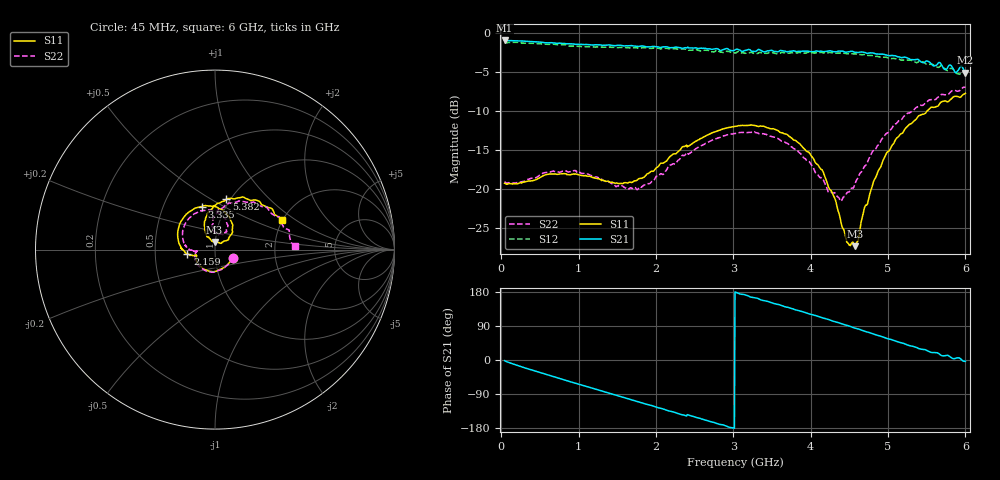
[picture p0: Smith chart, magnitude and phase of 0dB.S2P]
! C:\Users\Aljaz\OneDrive - Univerza v Ljubljani\DOKTORAT\NOVI SA\Slabilec PE43711B\meritve\prototip2\0dB.S2P
! Touchstone 1.1 file saved by VNA.EXE V1.65 (www.ke5fx.com/gpib/readme.htm)
! 18. 04. 2022 17:56:22
!  Source: HP8510C.07.14: Aug 26  1998
!  Min freq: 4.500000E+007 Hz
!  Max freq: 6.000000E+009 Hz
!  Points: 801
!  Params: S11 S21 S12 S22
# GHZ S DB R 50
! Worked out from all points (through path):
!   801 points, 45 MHz to 6 GHz, reference 50 ohm
!   highest |S21| = -1.00 dB at 45 MHz (marker M1); lowest = -5.1 dB at 6 GHz (marker M2)
!   group delay of S21, straight-line fit = 167 ps
!   lowest |S11| = -27.4 dB at 4.571 GHz (marker M3), VSWR 1.09, Z = 49.5 + j4.25 ohm
!   |S11| at or under -10 dB: start of sweep to 5.508 GHz
!   |S22| runs from -21.6 to -7.0 dB; largest |S21 - S12| = 0.062
!   S11 on the Smith chart (normalised r, x): 45 MHz: 1.21, -0.11; 2.159 GHz: 0.73, -0.03; 3.335 GHz: 0.77, +0.40; 5.382 GHz: 0.96, +0.59; 6 GHz: 2.00, +0.78
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0.045  -19.30 -24.7  -1.00 -1.8  -1.31 -2.0  -19.08 -25.1
0.22365  -19.31 -43.2  -1.06 -15.1  -1.24 -15.0  -19.16 -45.4
0.5214  -18.47 -85.2  -1.22 -34.5  -1.43 -34.5  -18.10 -89.9
1.042463  -18.30 -140.3  -1.51 -66.2  -1.80 -66.3  -18.04 -148.2
1.526306  -19.35 -162.2  -1.62 -95.2  -1.90 -94.8  -19.65 -174.9
1.779394  -18.69 -163.3  -1.76 -110.4  -2.02 -110.1  -19.88 -173.5
2.032481  -17.12 -166.7  -1.82 -126.1  -1.98 -125.6  -18.39 -174.3
2.159025  -16.16 -171.4  -1.86 -133.9  -2.04 -133.1  -17.19 -178.7
2.657756  -13.16 160.8  -2.05 -159.8  -2.26 -159.9  -14.12 156.8
3.0225  -12.01 132.5  -2.20 179.7  -2.60 179.1  -12.91 129.5
3.335138  -12.01 107.2  -2.16 160.4  -2.55 161.4  -12.95 104.8
3.699881  -13.08 77.2  -2.42 139.3  -2.62 139.2  -14.18 77.7
4.019963  -15.93 52.5  -2.43 119.7  -2.57 119.5  -17.08 61.4
4.168838  -18.03 42.7  -2.43 110.3  -2.59 110.3  -18.98 59.0
4.377262  -23.56 43.5  -2.35 97.2  -2.61 97.2  -21.44 76.8
4.481475  -26.98 56.8  -2.46 90.8  -2.71 90.2  -20.43 86.9
4.5708  -27.36 93.6  -2.50 84.2  -2.74 84.5  -19.47 94.3
4.801556  -19.46 119.5  -2.59 69.2  -2.95 69.2  -15.17 93.5
5.009981  -15.20 107.7  -2.93 55.6  -3.26 56.3  -12.70 81.0
5.382169  -10.83 77.4  -3.41 31.8  -3.80 34.2  -9.49 51.9
5.709694  -8.80 48.4  -4.46 10.9  -4.44 12.4  -7.92 26.4
6  -7.77 23.5  -5.13 -3.4  -5.28 -1.8  -7.00 2.8
